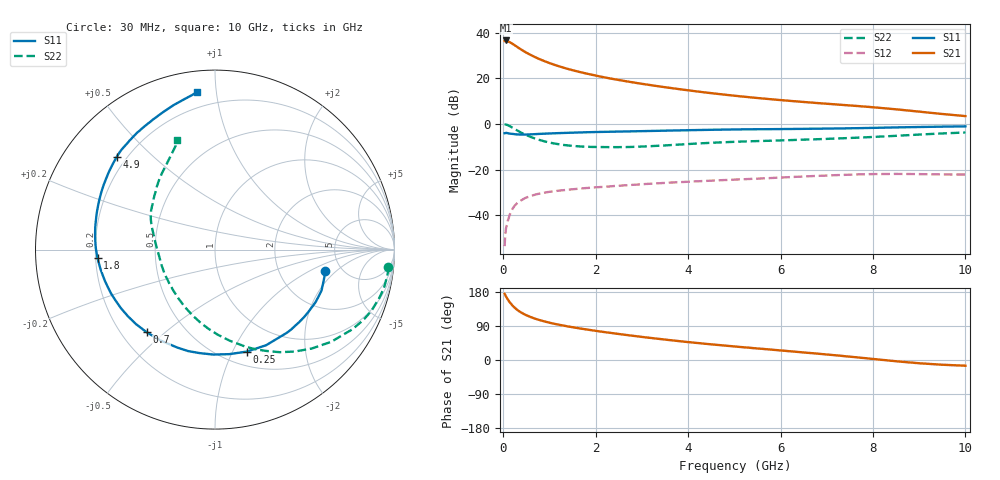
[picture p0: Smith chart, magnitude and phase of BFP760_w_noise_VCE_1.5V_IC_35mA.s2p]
! Infineon Technologies  Discrete & RF Semiconductors
! BFP760
! VCE =  1.5 V,  IC =  35 mA
! Common Emitter S-Parameters:  Nov 2012
# GHz  S  MA  R  50
!  f  S11  S21  S12  S22
! GHz  MAG  ANG  MAG  ANG  MAG  ANG  MAG  ANG
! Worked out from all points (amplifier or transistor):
!   99 points, 30 MHz to 10 GHz, reference 50 ohm
!   highest |S21| = 36.5 dB at 50 MHz (marker M1)
!   |S21| within 3 dB of that: start of sweep to 314.2 MHz
!   unconditionally stable (mu >= 1): 3.953 GHz to end of sweep
!   at 350 MHz: K = 0.30, MSG = 33.5 dB, |S12| = -34.0 dB
!   at 3.5 GHz: K = 0.96, MSG = 21.0 dB, |S12| = -25.8 dB
!   at 10 GHz: K = 1.09, MAG = 11.0 dB, |S12| = -22.2 dB
!   lowest NFmin = 0.83 dB at 900 MHz
!   S11 on the Smith chart (normalised r, x): 30 MHz: 3.73, -1.46; 250 MHz: 0.64, -1.13; 700 MHz: 0.30, -0.44; 1.8 GHz: 0.21, -0.03; 4.9 GHz: 0.16, +0.39; 10 GHz: 0.11, +0.89
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0.03  0.6251 -11.0  65.64 174.5  0.0021 89.4  0.9707 -5.7
0.05  0.6314 -17.8  67.2 169.7  0.0042 80.1  0.9683 -10.2
0.07  0.6334 -24.5  67.11 165.5  0.0057 80.0  0.9597 -14.5
0.09  0.6279 -30.9  65.69 161.6  0.0068 75.8  0.9451 -18.6
0.15  0.6125 -49.2  61.01 151.1  0.0107 70.2  0.8833 -30.3
0.2  0.6042 -61.9  56.73 143.8  0.0137 65.3  0.8261 -38.5
0.25  0.5951 -72.8  52.72 137.8  0.0163 61.0  0.7704 -45.7
0.35  0.5848 -91.0  44.9 128.2  0.02 55.3  0.6754 -57.8
0.45  0.5849 -104.8  38.91 121.1  0.0231 50.6  0.6004 -67.8
0.6  0.5906 -121.1  32.12 113.0  0.0264 45.8  0.5154 -80.6
0.7  0.5973 -129.5  28.65 108.6  0.0284 42.8  0.4742 -88.2
0.9  0.6111 -142.7  23.48 101.5  0.0313 39.2  0.4125 -101.8
1.1  0.6224 -152.9  19.8 95.7  0.0335 36.9  0.3726 -113.4
1.7  0.6514 -173.3  13.37 82.5  0.0386 33.7  0.3187 -140.3
1.8  0.656 -175.9  12.67 80.6  0.0394 33.5  0.3164 -144.0
2.5  0.6791 169.2  9.149 68.6  0.0441 32.0  0.3099 -165.5
3.4  0.7073 154.1  6.578 55.3  0.0503 30.6  0.3338 173.5
4.9  0.753 136.5  4.249 36.9  0.0596 27.8  0.4014 153.1
5.1  0.7577 134.9  4.047 34.7  0.0608 27.4  0.4085 151.3
6.7  0.7835 123.3  2.913 17.9  0.072 22.7  0.4585 136.7
8.5  0.8378 105.9  2.086 -3.3  0.0803 11.8  0.5481 119.4
10  0.8832 96.5  1.481 -15.1  0.0778 7.2  0.6484 109.3
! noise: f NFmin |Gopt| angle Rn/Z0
0.9  0.83  0.2  -166  0.09
1.8  0.88  0.21  -158  0.07
2.4  0.92  0.22  -148  0.08
3.5  1.04  0.22  -138  0.13
5.5  1.28  0.29  -90  0.41
8  1.54  0.41  -68  0.48
